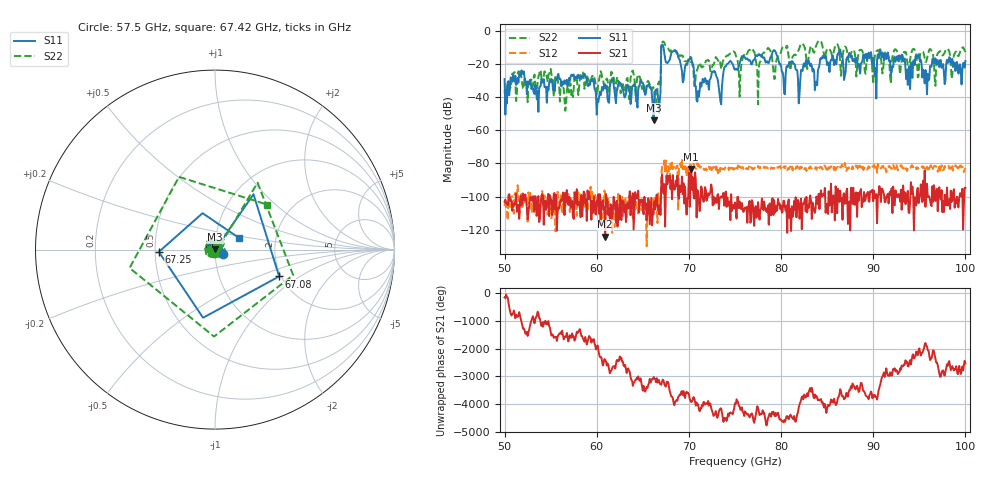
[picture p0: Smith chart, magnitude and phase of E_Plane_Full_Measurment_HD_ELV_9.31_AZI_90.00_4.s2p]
! 11/26/2026 3:15:33 PM
! C:\ANRITSUVNA\TEMP\TEMP.S2P
! CHANNEL.1
! TR.MEASUREMENT
! RAW.DATA
# HZ S RI R 50.0
! FREQ.HZ  S11RE  S11IM  S21RE  S21IM  S12RE  S12IM  S22RE  S22IM
!; PortSelection: Port_12
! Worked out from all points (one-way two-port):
!   601 points, 50 GHz to 100 GHz, reference 50 ohm
!   highest |S21| = -83.23 dB at 70.25 GHz (marker M1); lowest = -124.3 dB at 60.92 GHz (marker M2)
!   lowest |S11| = -54.0 dB at 66.17 GHz (marker M3), VSWR 1.00, Z = 50.1 + j0.146 ohm
!   |S11| at or under -10 dB: start of sweep to 67 GHz; 67.25 GHz to end of sweep
!   |S22| runs from -48.1 to -5.6 dB; largest |S21 - S12| = 0.00014
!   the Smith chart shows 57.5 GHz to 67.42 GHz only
!   S11 on the Smith chart (normalised r, x): 57.5 GHz: 1.09, -0.05; 67.08 GHz: 1.95, -0.69; 67.25 GHz: 0.52, -0.01; 67.42 GHz: 1.29, +0.18
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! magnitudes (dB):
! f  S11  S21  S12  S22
! 50 GHz  -29.0  -103.1  -105.8  -35.9
! 51.67 GHz  -26.3  -102.3  -108.8  -23.3
! 53.42 GHz  -34.8  -104.8  -111.6  -35.5
! 57.5 GHz  -26.2  -113.5  -108.2  -34.7
! 58.42 GHz  -27.2  -111.8  -100.5  -24.7
! 60.92 GHz  -34.7  -124.3  -99.3  -30.7
! 66.17 GHz  -54.0  -110.7  -102.8  -34.0
! 66.67 GHz  -41.6  -107.0  -98.1  -31.7
! 67.08 GHz  -8.2  -86.5  -81.3  -6.8
! 67.25 GHz  -10.1  -98.1  -81.7  -6.3
! 67.42 GHz  -16.6  -118.2  -84.8  -8.3
! 70.25 GHz  -16.0  -83.2  -82.3  -18.8
! 70.92 GHz  -42.6  -96.0  -79.3  -23.1
! 75 GHz  -23.3  -103.6  -82.8  -13.0
! 79.25 GHz  -11.5  -102.2  -83.0  -28.8
! 80.25 GHz  -27.8  -102.5  -82.5  -9.3
! 83.42 GHz  -24.3  -103.6  -82.1  -10.8
! 91.67 GHz  -16.7  -104.2  -82.0  -15.2
! 93.75 GHz  -32.5  -96.6  -82.6  -21.3
! 94.83 GHz  -15.1  -94.7  -83.2  -27.9
! 95.83 GHz  -38.1  -92.2  -82.0  -16.5
! 100 GHz  -18.0  -94.8  -82.8  -12.6
